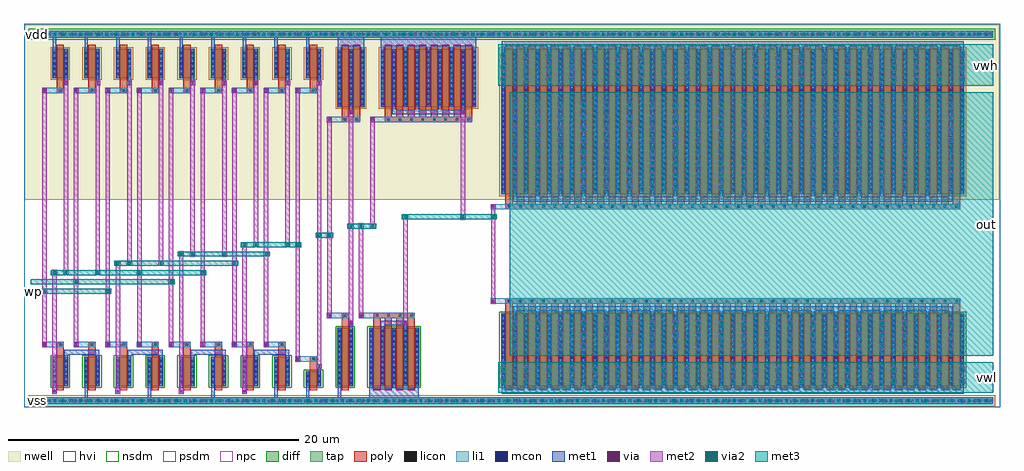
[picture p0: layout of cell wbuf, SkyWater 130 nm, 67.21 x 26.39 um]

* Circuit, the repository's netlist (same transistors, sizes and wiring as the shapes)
.subckt wbuf wp pol out vwh vwl vdd vss
MXN1a s1 wp n1 vss nfet_g5v0d10v5 w=2u l=0.5u
MXN1b s1 pol vss vss nfet_g5v0d10v5 w=2u l=0.5u
MXN2a s2 wp n2 vss nfet_g5v0d10v5 w=2u l=0.5u
MXN2b s2 n1 vss vss nfet_g5v0d10v5 w=2u l=0.5u
MXN3a s3 pol n3 vss nfet_g5v0d10v5 w=2u l=0.5u
MXN3b s3 n1 vss vss nfet_g5v0d10v5 w=2u l=0.5u
MXN4a s4 n2 xr vss nfet_g5v0d10v5 w=2u l=0.5u
MXN4b s4 n3 vss vss nfet_g5v0d10v5 w=2u l=0.5u
MXI0n f0 xr vss vss nfet_g5v0d10v5 w=1u l=0.5u
MXM1 f1 f0 vss vss nfet_g5v0d10v5 w=4u l=0.5u
MXM2 f2 f1 vss vss nfet_g5v0d10v5 w=16u l=0.5u
MXP1a n1 wp vdd vdd pfet_g5v0d10v5 w=2u l=0.5u
MXP1b n1 pol vdd vdd pfet_g5v0d10v5 w=2u l=0.5u
MXP2a n2 wp vdd vdd pfet_g5v0d10v5 w=2u l=0.5u
MXP2b n2 n1 vdd vdd pfet_g5v0d10v5 w=2u l=0.5u
MXP3a n3 pol vdd vdd pfet_g5v0d10v5 w=2u l=0.5u
MXP3b n3 n1 vdd vdd pfet_g5v0d10v5 w=2u l=0.5u
MXP4a xr n2 vdd vdd pfet_g5v0d10v5 w=2u l=0.5u
MXP4b xr n3 vdd vdd pfet_g5v0d10v5 w=2u l=0.5u
MXI0p f0 xr vdd vdd pfet_g5v0d10v5 w=2u l=0.5u
MXP1 f1 f0 vdd vdd pfet_g5v0d10v5 w=8u l=0.5u
MXP2 f2 f1 vdd vdd pfet_g5v0d10v5 w=32u l=0.5u
MXMo out f2 vwl vss nfet_g5v0d10v5 w=200u l=0.5u
MXPo out f2 vwh vdd pfet_g5v0d10v5 w=400u l=0.5u
.ends wbuf

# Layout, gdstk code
import gdstk
lib = gdstk.Library(unit=1e-6, precision=1e-09)
def R(c, l, rs):  # rectangles x0, y0, x1, y1
    for r in rs: c.add(gdstk.rectangle(r[:2], r[2:], *l))
def A(c, l, x, y, w, h, nx, ny, dx, dy):  # array of equal rectangles
    R(c, l, [(x+i*dx, y+j*dy, x+i*dx+w, y+j*dy+h) for i in range(nx) for j in range(ny)])
nwell = (64, 20)
diff = (65, 20)
tap = (65, 44)
poly = (66, 20)
licon = (66, 44)
li1 = (67, 20)
mcon = (67, 44)
met1 = (68, 20)
via = (68, 44)
met2 = (69, 20)
via2 = (69, 44)
met3 = (70, 20)
hvi = (75, 20)
nsdm = (93, 44)
psdm = (94, 20)
npc = (95, 20)

wbuf_p0_xp1a = lib.new_cell('wbuf_p0_XP1a')
R(wbuf_p0_xp1a, diff, [(0,0.72,1.08,2.72)])
R(wbuf_p0_xp1a, poly, [(0.29,0.435,0.79,3.005), (0.29,2.72,0.79,3.58), (0.29,3.4,0.79,3.76)])
A(wbuf_p0_xp1a, licon, 0.06, 0.915, 0.17, 0.17, 1, 5, 0, 0.36)
A(wbuf_p0_xp1a, licon, 0.85, 0.915, 0.17, 0.17, 1, 5, 0, 0.36)
R(wbuf_p0_xp1a, licon, [(0.455,3.495,0.625,3.665)])
R(wbuf_p0_xp1a, li1, [(0.06,0.7,0.23,2.74), (0.85,0.7,1.02,2.74), (0.29,3.4,0.79,3.76)])
A(wbuf_p0_xp1a, mcon, 0.06, 0.915, 0.17, 0.17, 1, 5, 0, 0.36)
A(wbuf_p0_xp1a, mcon, 0.85, 0.915, 0.17, 0.17, 1, 5, 0, 0.36)
R(wbuf_p0_xp1a, met1, [(0.03,0.19,0.26,0.72), (0.03,0.19,0.26,0.53), (0.03,0.72,0.26,2.72), (0.82,0.72,1.05,2.72), (0.82,2.72,1.05,3.23), (0.82,2.89,1.05,3.23)])
R(wbuf_p0_xp1a, psdm, [(-0.125,0.595,1.205,2.845)])
R(wbuf_p0_xp1a, npc, [(0.355,3.395,0.725,3.765)])

wbuf_p1_xp1b = lib.new_cell('wbuf_p1_XP1b')
R(wbuf_p1_xp1b, diff, [(0,0.72,1.08,2.72)])
R(wbuf_p1_xp1b, poly, [(0.29,0.435,0.79,3.005), (0.29,2.72,0.79,3.58), (0.29,3.4,0.79,3.76)])
A(wbuf_p1_xp1b, licon, 0.06, 0.915, 0.17, 0.17, 1, 5, 0, 0.36)
A(wbuf_p1_xp1b, licon, 0.85, 0.915, 0.17, 0.17, 1, 5, 0, 0.36)
R(wbuf_p1_xp1b, licon, [(0.455,3.495,0.625,3.665)])
R(wbuf_p1_xp1b, li1, [(0.06,0.7,0.23,2.74), (0.85,0.7,1.02,2.74), (0.29,3.4,0.79,3.76)])
A(wbuf_p1_xp1b, mcon, 0.06, 0.915, 0.17, 0.17, 1, 5, 0, 0.36)
A(wbuf_p1_xp1b, mcon, 0.85, 0.915, 0.17, 0.17, 1, 5, 0, 0.36)
R(wbuf_p1_xp1b, met1, [(0.03,0.19,0.26,0.72), (0.03,0.19,0.26,0.53), (0.03,0.72,0.26,2.72), (0.82,0.72,1.05,2.72), (0.82,2.72,1.05,3.23), (0.82,2.89,1.05,3.23)])
R(wbuf_p1_xp1b, psdm, [(-0.125,0.595,1.205,2.845)])
R(wbuf_p1_xp1b, npc, [(0.355,3.395,0.725,3.765)])

wbuf_p2_xp2a = lib.new_cell('wbuf_p2_XP2a')
R(wbuf_p2_xp2a, diff, [(0,0.72,1.08,2.72)])
R(wbuf_p2_xp2a, poly, [(0.29,0.435,0.79,3.005), (0.29,2.72,0.79,3.58), (0.29,3.4,0.79,3.76)])
A(wbuf_p2_xp2a, licon, 0.06, 0.915, 0.17, 0.17, 1, 5, 0, 0.36)
A(wbuf_p2_xp2a, licon, 0.85, 0.915, 0.17, 0.17, 1, 5, 0, 0.36)
R(wbuf_p2_xp2a, licon, [(0.455,3.495,0.625,3.665)])
R(wbuf_p2_xp2a, li1, [(0.06,0.7,0.23,2.74), (0.85,0.7,1.02,2.74), (0.29,3.4,0.79,3.76)])
A(wbuf_p2_xp2a, mcon, 0.06, 0.915, 0.17, 0.17, 1, 5, 0, 0.36)
A(wbuf_p2_xp2a, mcon, 0.85, 0.915, 0.17, 0.17, 1, 5, 0, 0.36)
R(wbuf_p2_xp2a, met1, [(0.03,0.19,0.26,0.72), (0.03,0.19,0.26,0.53), (0.03,0.72,0.26,2.72), (0.82,0.72,1.05,2.72), (0.82,2.72,1.05,3.23), (0.82,2.89,1.05,3.23)])
R(wbuf_p2_xp2a, psdm, [(-0.125,0.595,1.205,2.845)])
R(wbuf_p2_xp2a, npc, [(0.355,3.395,0.725,3.765)])

wbuf_p3_xp2b = lib.new_cell('wbuf_p3_XP2b')
R(wbuf_p3_xp2b, diff, [(0,0.72,1.08,2.72)])
R(wbuf_p3_xp2b, poly, [(0.29,0.435,0.79,3.005), (0.29,2.72,0.79,3.58), (0.29,3.4,0.79,3.76)])
A(wbuf_p3_xp2b, licon, 0.06, 0.915, 0.17, 0.17, 1, 5, 0, 0.36)
A(wbuf_p3_xp2b, licon, 0.85, 0.915, 0.17, 0.17, 1, 5, 0, 0.36)
R(wbuf_p3_xp2b, licon, [(0.455,3.495,0.625,3.665)])
R(wbuf_p3_xp2b, li1, [(0.06,0.7,0.23,2.74), (0.85,0.7,1.02,2.74), (0.29,3.4,0.79,3.76)])
A(wbuf_p3_xp2b, mcon, 0.06, 0.915, 0.17, 0.17, 1, 5, 0, 0.36)
A(wbuf_p3_xp2b, mcon, 0.85, 0.915, 0.17, 0.17, 1, 5, 0, 0.36)
R(wbuf_p3_xp2b, met1, [(0.03,0.19,0.26,0.72), (0.03,0.19,0.26,0.53), (0.03,0.72,0.26,2.72), (0.82,0.72,1.05,2.72), (0.82,2.72,1.05,3.23), (0.82,2.89,1.05,3.23)])
R(wbuf_p3_xp2b, psdm, [(-0.125,0.595,1.205,2.845)])
R(wbuf_p3_xp2b, npc, [(0.355,3.395,0.725,3.765)])

wbuf_p4_xp3a = lib.new_cell('wbuf_p4_XP3a')
R(wbuf_p4_xp3a, diff, [(0,0.72,1.08,2.72)])
R(wbuf_p4_xp3a, poly, [(0.29,0.435,0.79,3.005), (0.29,2.72,0.79,3.58), (0.29,3.4,0.79,3.76)])
A(wbuf_p4_xp3a, licon, 0.06, 0.915, 0.17, 0.17, 1, 5, 0, 0.36)
A(wbuf_p4_xp3a, licon, 0.85, 0.915, 0.17, 0.17, 1, 5, 0, 0.36)
R(wbuf_p4_xp3a, licon, [(0.455,3.495,0.625,3.665)])
R(wbuf_p4_xp3a, li1, [(0.06,0.7,0.23,2.74), (0.85,0.7,1.02,2.74), (0.29,3.4,0.79,3.76)])
A(wbuf_p4_xp3a, mcon, 0.06, 0.915, 0.17, 0.17, 1, 5, 0, 0.36)
A(wbuf_p4_xp3a, mcon, 0.85, 0.915, 0.17, 0.17, 1, 5, 0, 0.36)
R(wbuf_p4_xp3a, met1, [(0.03,0.19,0.26,0.72), (0.03,0.19,0.26,0.53), (0.03,0.72,0.26,2.72), (0.82,0.72,1.05,2.72), (0.82,2.72,1.05,3.23), (0.82,2.89,1.05,3.23)])
R(wbuf_p4_xp3a, psdm, [(-0.125,0.595,1.205,2.845)])
R(wbuf_p4_xp3a, npc, [(0.355,3.395,0.725,3.765)])

wbuf_p5_xp3b = lib.new_cell('wbuf_p5_XP3b')
R(wbuf_p5_xp3b, diff, [(0,0.72,1.08,2.72)])
R(wbuf_p5_xp3b, poly, [(0.29,0.435,0.79,3.005), (0.29,2.72,0.79,3.58), (0.29,3.4,0.79,3.76)])
A(wbuf_p5_xp3b, licon, 0.06, 0.915, 0.17, 0.17, 1, 5, 0, 0.36)
A(wbuf_p5_xp3b, licon, 0.85, 0.915, 0.17, 0.17, 1, 5, 0, 0.36)
R(wbuf_p5_xp3b, licon, [(0.455,3.495,0.625,3.665)])
R(wbuf_p5_xp3b, li1, [(0.06,0.7,0.23,2.74), (0.85,0.7,1.02,2.74), (0.29,3.4,0.79,3.76)])
A(wbuf_p5_xp3b, mcon, 0.06, 0.915, 0.17, 0.17, 1, 5, 0, 0.36)
A(wbuf_p5_xp3b, mcon, 0.85, 0.915, 0.17, 0.17, 1, 5, 0, 0.36)
R(wbuf_p5_xp3b, met1, [(0.03,0.19,0.26,0.72), (0.03,0.19,0.26,0.53), (0.03,0.72,0.26,2.72), (0.82,0.72,1.05,2.72), (0.82,2.72,1.05,3.23), (0.82,2.89,1.05,3.23)])
R(wbuf_p5_xp3b, psdm, [(-0.125,0.595,1.205,2.845)])
R(wbuf_p5_xp3b, npc, [(0.355,3.395,0.725,3.765)])

wbuf_p6_xp4a = lib.new_cell('wbuf_p6_XP4a')
R(wbuf_p6_xp4a, diff, [(0,0.72,1.08,2.72)])
R(wbuf_p6_xp4a, poly, [(0.29,0.435,0.79,3.005), (0.29,2.72,0.79,3.58), (0.29,3.4,0.79,3.76)])
A(wbuf_p6_xp4a, licon, 0.06, 0.915, 0.17, 0.17, 1, 5, 0, 0.36)
A(wbuf_p6_xp4a, licon, 0.85, 0.915, 0.17, 0.17, 1, 5, 0, 0.36)
R(wbuf_p6_xp4a, licon, [(0.455,3.495,0.625,3.665)])
R(wbuf_p6_xp4a, li1, [(0.06,0.7,0.23,2.74), (0.85,0.7,1.02,2.74), (0.29,3.4,0.79,3.76)])
A(wbuf_p6_xp4a, mcon, 0.06, 0.915, 0.17, 0.17, 1, 5, 0, 0.36)
A(wbuf_p6_xp4a, mcon, 0.85, 0.915, 0.17, 0.17, 1, 5, 0, 0.36)
R(wbuf_p6_xp4a, met1, [(0.03,0.19,0.26,0.72), (0.03,0.19,0.26,0.53), (0.03,0.72,0.26,2.72), (0.82,0.72,1.05,2.72), (0.82,2.72,1.05,3.23), (0.82,2.89,1.05,3.23)])
R(wbuf_p6_xp4a, psdm, [(-0.125,0.595,1.205,2.845)])
R(wbuf_p6_xp4a, npc, [(0.355,3.395,0.725,3.765)])

wbuf_p7_xp4b = lib.new_cell('wbuf_p7_XP4b')
R(wbuf_p7_xp4b, diff, [(0,0.72,1.08,2.72)])
R(wbuf_p7_xp4b, poly, [(0.29,0.435,0.79,3.005), (0.29,2.72,0.79,3.58), (0.29,3.4,0.79,3.76)])
A(wbuf_p7_xp4b, licon, 0.06, 0.915, 0.17, 0.17, 1, 5, 0, 0.36)
A(wbuf_p7_xp4b, licon, 0.85, 0.915, 0.17, 0.17, 1, 5, 0, 0.36)
R(wbuf_p7_xp4b, licon, [(0.455,3.495,0.625,3.665)])
R(wbuf_p7_xp4b, li1, [(0.06,0.7,0.23,2.74), (0.85,0.7,1.02,2.74), (0.29,3.4,0.79,3.76)])
A(wbuf_p7_xp4b, mcon, 0.06, 0.915, 0.17, 0.17, 1, 5, 0, 0.36)
A(wbuf_p7_xp4b, mcon, 0.85, 0.915, 0.17, 0.17, 1, 5, 0, 0.36)
R(wbuf_p7_xp4b, met1, [(0.03,0.19,0.26,0.72), (0.03,0.19,0.26,0.53), (0.03,0.72,0.26,2.72), (0.82,0.72,1.05,2.72), (0.82,2.72,1.05,3.23), (0.82,2.89,1.05,3.23)])
R(wbuf_p7_xp4b, psdm, [(-0.125,0.595,1.205,2.845)])
R(wbuf_p7_xp4b, npc, [(0.355,3.395,0.725,3.765)])

wbuf_p8_xi0p = lib.new_cell('wbuf_p8_XI0p')
R(wbuf_p8_xi0p, diff, [(0,0.72,1.08,2.72)])
R(wbuf_p8_xi0p, poly, [(0.29,0.435,0.79,3.005), (0.29,2.72,0.79,3.58), (0.29,3.4,0.79,3.76)])
A(wbuf_p8_xi0p, licon, 0.06, 0.915, 0.17, 0.17, 1, 5, 0, 0.36)
A(wbuf_p8_xi0p, licon, 0.85, 0.915, 0.17, 0.17, 1, 5, 0, 0.36)
R(wbuf_p8_xi0p, licon, [(0.455,3.495,0.625,3.665)])
R(wbuf_p8_xi0p, li1, [(0.06,0.7,0.23,2.74), (0.85,0.7,1.02,2.74), (0.29,3.4,0.79,3.76)])
A(wbuf_p8_xi0p, mcon, 0.06, 0.915, 0.17, 0.17, 1, 5, 0, 0.36)
A(wbuf_p8_xi0p, mcon, 0.85, 0.915, 0.17, 0.17, 1, 5, 0, 0.36)
R(wbuf_p8_xi0p, met1, [(0.03,0.19,0.26,0.72), (0.03,0.19,0.26,0.53), (0.03,0.72,0.26,2.72), (0.82,0.72,1.05,2.72), (0.82,2.72,1.05,3.23), (0.82,2.89,1.05,3.23)])
R(wbuf_p8_xi0p, psdm, [(-0.125,0.595,1.205,2.845)])
R(wbuf_p8_xi0p, npc, [(0.355,3.395,0.725,3.765)])

wbuf_p9_xp1 = lib.new_cell('wbuf_p9_XP1')
R(wbuf_p9_xp1, diff, [(0,0.72,1.87,4.72)])
R(wbuf_p9_xp1, poly, [(0.29,0.435,0.79,5.005), (1.08,0.435,1.58,5.005), (0.29,4.72,0.79,5.58), (1.08,4.72,1.58,5.58), (0.29,5.4,1.58,5.76)])
A(wbuf_p9_xp1, licon, 0.06, 0.835, 0.17, 0.17, 3, 11, 0.79, 0.36)
R(wbuf_p9_xp1, licon, [(0.455,5.495,0.625,5.665), (1.245,5.495,1.415,5.665)])
A(wbuf_p9_xp1, li1, 0.06, 0.7, 0.17, 4.04, 3, 1, 0.79, 0)
R(wbuf_p9_xp1, li1, [(0.29,5.4,1.58,5.76)])
A(wbuf_p9_xp1, mcon, 0.06, 0.835, 0.17, 0.17, 3, 11, 0.79, 0.36)
A(wbuf_p9_xp1, met1, 0.03, 0.72, 0.23, 4, 3, 1, 0.79, 0)
R(wbuf_p9_xp1, met1, [(0.03,0.19,0.26,0.72), (0.03,0.19,1.84,0.53), (1.61,0.19,1.84,0.72), (0.82,4.72,1.05,5.23), (0.82,4.89,1.05,5.23)])
R(wbuf_p9_xp1, psdm, [(-0.125,0.595,1.995,4.845)])
R(wbuf_p9_xp1, npc, [(0.355,5.395,1.515,5.765)])

wbuf_p10_xp2 = lib.new_cell('wbuf_p10_XP2')
R(wbuf_p10_xp2, diff, [(0,0.72,6.61,4.72)])
A(wbuf_p10_xp2, poly, 0.29, 0.435, 0.5, 4.57, 8, 1, 0.79, 0)
A(wbuf_p10_xp2, poly, 0.29, 4.72, 0.5, 0.86, 8, 1, 0.79, 0)
R(wbuf_p10_xp2, poly, [(0.29,5.4,6.32,5.76)])
A(wbuf_p10_xp2, licon, 0.06, 0.835, 0.17, 0.17, 9, 11, 0.79, 0.36)
A(wbuf_p10_xp2, licon, 0.455, 5.495, 0.17, 0.17, 8, 1, 0.79, 0)
A(wbuf_p10_xp2, li1, 0.06, 0.7, 0.17, 4.04, 9, 1, 0.79, 0)
R(wbuf_p10_xp2, li1, [(0.29,5.4,6.32,5.76)])
A(wbuf_p10_xp2, mcon, 0.06, 0.835, 0.17, 0.17, 9, 11, 0.79, 0.36)
A(wbuf_p10_xp2, met1, 0.03, 0.19, 0.23, 0.53, 5, 1, 1.58, 0)
A(wbuf_p10_xp2, met1, 0.03, 0.72, 0.23, 4, 9, 1, 0.79, 0)
A(wbuf_p10_xp2, met1, 0.82, 4.72, 0.23, 0.51, 4, 1, 1.58, 0)
R(wbuf_p10_xp2, met1, [(0.03,0.19,6.58,0.53), (0.82,4.89,5.79,5.23)])
R(wbuf_p10_xp2, psdm, [(-0.125,0.595,6.735,4.845)])
R(wbuf_p10_xp2, npc, [(0.355,5.395,6.255,5.765)])

wbuf_p0_xpo = lib.new_cell('wbuf_p0_XPo')
R(wbuf_p0_xpo, diff, [(0,0.72,31.89,10.72)])
A(wbuf_p0_xpo, poly, 0.29, 0.435, 0.5, 10.57, 40, 1, 0.79, 0)
A(wbuf_p0_xpo, poly, 0.29, 10.72, 0.5, 0.86, 40, 1, 0.79, 0)
R(wbuf_p0_xpo, poly, [(0.29,11.4,31.6,11.76)])
A(wbuf_p0_xpo, licon, 0.06, 0.955, 0.17, 0.17, 41, 27, 0.79, 0.36)
A(wbuf_p0_xpo, licon, 0.455, 11.495, 0.17, 0.17, 40, 1, 0.79, 0)
A(wbuf_p0_xpo, li1, 0.06, 0.7, 0.17, 10.04, 41, 1, 0.79, 0)
R(wbuf_p0_xpo, li1, [(0.29,11.4,31.6,11.76)])
A(wbuf_p0_xpo, mcon, 0.06, 0.955, 0.17, 0.17, 41, 27, 0.79, 0.36)
A(wbuf_p0_xpo, met1, 0.03, 0.19, 0.23, 0.53, 21, 1, 1.58, 0)
A(wbuf_p0_xpo, met1, 0.03, 0.72, 0.23, 10, 41, 1, 0.79, 0)
A(wbuf_p0_xpo, met1, 0.82, 10.72, 0.23, 0.51, 20, 1, 1.58, 0)
R(wbuf_p0_xpo, met1, [(0.03,0.19,31.86,0.53), (0.82,10.89,31.07,11.23)])
R(wbuf_p0_xpo, psdm, [(-0.125,0.595,32.015,10.845)])
R(wbuf_p0_xpo, npc, [(0.355,11.395,31.535,11.765)])

wbuf = lib.new_cell('wbuf')
R(wbuf, nwell, [(0.06,14.265,67.15,26.335)])
A(wbuf, diff, 1.96, 1.455, 1.08, 2, 8, 1, 2.18, 0)
R(wbuf, diff, [(19.4,1.455,20.48,2.455), (21.58,1.455,22.66,5.455), (23.76,1.455,27.21,5.455), (32.86,1.455,64.75,6.455)])
R(wbuf, tap, [(0.46,0.185,66.75,0.685), (0.46,25.435,66.75,25.935)])
A(wbuf, poly, 2.25, 1.17, 0.5, 2.57, 8, 1, 2.18, 0)
A(wbuf, poly, 24.05, 1.17, 0.5, 4.57, 4, 1, 0.79, 0)
A(wbuf, poly, 33.15, 1.17, 0.5, 5.57, 40, 1, 0.79, 0)
A(wbuf, poly, 2.25, 3.455, 0.5, 0.86, 8, 1, 2.18, 0)
A(wbuf, poly, 2.25, 4.135, 0.5, 0.36, 8, 1, 2.18, 0)
A(wbuf, poly, 24.05, 5.455, 0.5, 0.86, 4, 1, 0.79, 0)
A(wbuf, poly, 33.15, 6.455, 0.5, 0.86, 40, 1, 0.79, 0)
R(wbuf, poly, [(19.69,1.17,20.19,2.74), (21.87,1.17,22.37,5.74), (19.69,2.455,20.19,3.315), (19.69,3.135,20.19,3.495), (21.87,5.455,22.37,6.315), (21.87,6.135,22.37,6.495), (24.05,6.135,26.92,6.495), (33.15,7.135,64.46,7.495)])
A(wbuf, licon, 0.58, 0.35, 0.17, 0.17, 184, 2, 0.36, 25.25)
A(wbuf, licon, 32.92, 1.53, 0.17, 0.17, 41, 14, 0.79, 0.36)
A(wbuf, licon, 21.64, 1.57, 0.17, 0.17, 1, 11, 0, 0.36)
A(wbuf, licon, 22.43, 1.57, 0.17, 0.17, 1, 11, 0, 0.36)
A(wbuf, licon, 23.82, 1.57, 0.17, 0.17, 5, 11, 0.79, 0.36)
A(wbuf, licon, 2.02, 1.65, 0.17, 0.17, 1, 5, 0, 0.36)
A(wbuf, licon, 2.81, 1.65, 0.17, 0.17, 1, 5, 0, 0.36)
A(wbuf, licon, 4.2, 1.65, 0.17, 0.17, 1, 5, 0, 0.36)
A(wbuf, licon, 4.99, 1.65, 0.17, 0.17, 1, 5, 0, 0.36)
A(wbuf, licon, 6.38, 1.65, 0.17, 0.17, 1, 5, 0, 0.36)
A(wbuf, licon, 7.17, 1.65, 0.17, 0.17, 1, 5, 0, 0.36)
A(wbuf, licon, 8.56, 1.65, 0.17, 0.17, 1, 5, 0, 0.36)
A(wbuf, licon, 9.35, 1.65, 0.17, 0.17, 1, 5, 0, 0.36)
A(wbuf, licon, 10.74, 1.65, 0.17, 0.17, 1, 5, 0, 0.36)
A(wbuf, licon, 11.53, 1.65, 0.17, 0.17, 1, 5, 0, 0.36)
A(wbuf, licon, 12.92, 1.65, 0.17, 0.17, 1, 5, 0, 0.36)
A(wbuf, licon, 13.71, 1.65, 0.17, 0.17, 1, 5, 0, 0.36)
A(wbuf, licon, 15.1, 1.65, 0.17, 0.17, 1, 5, 0, 0.36)
A(wbuf, licon, 15.89, 1.65, 0.17, 0.17, 1, 5, 0, 0.36)
A(wbuf, licon, 17.28, 1.65, 0.17, 0.17, 1, 5, 0, 0.36)
A(wbuf, licon, 18.07, 1.65, 0.17, 0.17, 1, 5, 0, 0.36)
A(wbuf, licon, 2.415, 4.23, 0.17, 0.17, 8, 1, 2.18, 0)
A(wbuf, licon, 24.215, 6.23, 0.17, 0.17, 4, 1, 0.79, 0)
A(wbuf, licon, 33.315, 7.23, 0.17, 0.17, 40, 1, 0.79, 0)
R(wbuf, licon, [(19.46,1.69,19.63,1.86), (20.25,1.69,20.42,1.86), (19.46,2.05,19.63,2.22), (20.25,2.05,20.42,2.22), (19.855,3.23,20.025,3.4), (22.035,6.23,22.205,6.4)])
A(wbuf, li1, 23.82, 1.435, 0.17, 4.04, 5, 1, 0.79, 0)
A(wbuf, li1, 32.92, 1.435, 0.17, 5.04, 41, 1, 0.79, 0)
A(wbuf, li1, 1.24, 4.135, 1.26, 0.36, 8, 1, 2.18, 0)
A(wbuf, li1, 2.25, 4.135, 0.5, 0.36, 8, 1, 2.18, 0)
A(wbuf, li1, 1.24, 21.625, 1.26, 0.36, 9, 1, 2.18, 0)
R(wbuf, li1, [(0.46,0.185,66.75,0.685), (2.02,1.435,2.19,3.475), (2.81,1.435,2.98,3.475), (4.2,1.435,4.37,3.475), (4.99,1.435,5.16,3.475), (6.38,1.435,6.55,3.475), (7.17,1.435,7.34,3.475), (8.56,1.435,8.73,3.475), (9.35,1.435,9.52,3.475), (10.74,1.435,10.91,3.475), (11.53,1.435,11.7,3.475), (12.92,1.435,13.09,3.475), (13.71,1.435,13.88,3.475), (15.1,1.435,15.27,3.475), (15.89,1.435,16.06,3.475), (17.28,1.435,17.45,3.475), (18.07,1.435,18.24,3.475), (19.46,1.435,19.63,2.475), (20.25,1.435,20.42,2.475), (21.64,1.435,21.81,5.475), (22.43,1.435,22.6,5.475), (18.68,3.135,19.94,3.495), (19.69,3.135,20.19,3.495), (20.86,6.135,22.12,6.495), (21.87,6.135,22.37,6.495), (23.04,6.135,24.3,6.495), (24.05,6.135,26.92,6.495), (32.14,7.135,33.4,7.495), (33.15,7.135,64.46,7.495), (32.14,13.625,33.4,13.985), (20.86,19.625,22.12,19.985), (23.83,19.625,25.09,19.985), (0.46,25.435,66.75,25.935)])
A(wbuf, mcon, 0.58, 0.35, 0.17, 0.17, 184, 2, 0.36, 25.25)
A(wbuf, mcon, 32.92, 1.53, 0.17, 0.17, 41, 14, 0.79, 0.36)
A(wbuf, mcon, 21.64, 1.57, 0.17, 0.17, 1, 11, 0, 0.36)
A(wbuf, mcon, 22.43, 1.57, 0.17, 0.17, 1, 11, 0, 0.36)
A(wbuf, mcon, 23.82, 1.57, 0.17, 0.17, 5, 11, 0.79, 0.36)
A(wbuf, mcon, 2.02, 1.65, 0.17, 0.17, 1, 5, 0, 0.36)
A(wbuf, mcon, 2.81, 1.65, 0.17, 0.17, 1, 5, 0, 0.36)
A(wbuf, mcon, 4.2, 1.65, 0.17, 0.17, 1, 5, 0, 0.36)
A(wbuf, mcon, 4.99, 1.65, 0.17, 0.17, 1, 5, 0, 0.36)
A(wbuf, mcon, 6.38, 1.65, 0.17, 0.17, 1, 5, 0, 0.36)
A(wbuf, mcon, 7.17, 1.65, 0.17, 0.17, 1, 5, 0, 0.36)
A(wbuf, mcon, 8.56, 1.65, 0.17, 0.17, 1, 5, 0, 0.36)
A(wbuf, mcon, 9.35, 1.65, 0.17, 0.17, 1, 5, 0, 0.36)
A(wbuf, mcon, 10.74, 1.65, 0.17, 0.17, 1, 5, 0, 0.36)
A(wbuf, mcon, 11.53, 1.65, 0.17, 0.17, 1, 5, 0, 0.36)
A(wbuf, mcon, 12.92, 1.65, 0.17, 0.17, 1, 5, 0, 0.36)
A(wbuf, mcon, 13.71, 1.65, 0.17, 0.17, 1, 5, 0, 0.36)
A(wbuf, mcon, 15.1, 1.65, 0.17, 0.17, 1, 5, 0, 0.36)
A(wbuf, mcon, 15.89, 1.65, 0.17, 0.17, 1, 5, 0, 0.36)
A(wbuf, mcon, 17.28, 1.65, 0.17, 0.17, 1, 5, 0, 0.36)
A(wbuf, mcon, 18.07, 1.65, 0.17, 0.17, 1, 5, 0, 0.36)
A(wbuf, mcon, 1.325, 4.23, 0.17, 0.17, 8, 1, 2.18, 0)
A(wbuf, mcon, 1.325, 21.72, 0.17, 0.17, 9, 1, 2.18, 0)
R(wbuf, mcon, [(19.46,1.69,19.63,1.86), (20.25,1.69,20.42,1.86), (19.46,2.05,19.63,2.22), (20.25,2.05,20.42,2.22), (18.765,3.23,18.935,3.4), (20.945,6.23,21.115,6.4), (23.125,6.23,23.295,6.4), (32.225,7.23,32.395,7.4), (32.225,13.72,32.395,13.89), (20.945,19.72,21.115,19.89), (23.915,19.72,24.085,19.89)])
A(wbuf, met1, 4.17, 0.435, 0.23, 0.66, 4, 1, 4.36, 0)
A(wbuf, met1, 1.99, 0.925, 0.23, 0.53, 11, 1, 2.18, 0)
A(wbuf, met1, 1.99, 0.925, 0.23, 0.34, 10, 1, 2.18, 0)
A(wbuf, met1, 32.89, 0.925, 0.23, 0.53, 21, 1, 1.58, 0)
A(wbuf, met1, 1.94, 0.93, 0.33, 0.33, 4, 1, 4.36, 0)
A(wbuf, met1, 23.79, 1.455, 0.23, 4, 5, 1, 0.79, 0)
A(wbuf, met1, 32.89, 1.455, 0.23, 5, 41, 1, 0.79, 0)
A(wbuf, met1, 32.84, 1.62, 0.33, 0.33, 21, 2, 1.58, 0.8)
A(wbuf, met1, 2.78, 3.455, 0.23, 0.51, 8, 1, 2.18, 0)
A(wbuf, met1, 2.78, 3.625, 2.41, 0.34, 4, 1, 4.36, 0)
A(wbuf, met1, 2.78, 3.625, 0.23, 0.34, 8, 1, 2.18, 0)
A(wbuf, met1, 33.63, 4.02, 0.33, 0.33, 20, 3, 1.58, 0.8)
A(wbuf, met1, 1.24, 4.145, 0.34, 0.34, 8, 1, 2.18, 0)
A(wbuf, met1, 33.68, 6.455, 0.23, 0.51, 20, 1, 1.58, 0)
A(wbuf, met1, 33.63, 15.02, 0.33, 0.33, 20, 8, 1.58, 0.8)
A(wbuf, met1, 1.24, 21.635, 0.34, 0.34, 9, 1, 2.18, 0)
A(wbuf, met1, 2.73, 22.16, 0.33, 0.33, 9, 1, 2.18, 0)
A(wbuf, met1, 32.84, 22.42, 0.33, 0.33, 21, 3, 1.58, 0.8)
A(wbuf, met1, 1.99, 25.025, 0.23, 0.66, 9, 1, 2.18, 0)
R(wbuf, met1, [(0.46,0.185,66.75,0.685), (19.43,0.435,19.66,1.095), (21.61,0.435,21.84,1.095), (23.79,0.435,27.18,1.095), (23.79,0.925,27.18,1.265), (25.37,0.925,25.6,1.455), (26.95,0.925,27.18,1.455), (32.89,0.925,64.72,1.265), (1.99,1.455,2.22,3.455), (2.78,1.455,3.01,3.455), (4.17,1.455,4.4,3.455), (4.96,1.455,5.19,3.455), (6.35,1.455,6.58,3.455), (7.14,1.455,7.37,3.455), (8.53,1.455,8.76,3.455), (9.32,1.455,9.55,3.455), (10.71,1.455,10.94,3.455), (11.5,1.455,11.73,3.455), (12.89,1.455,13.12,3.455), (13.68,1.455,13.91,3.455), (15.07,1.455,15.3,3.455), (15.86,1.455,16.09,3.455), (17.25,1.455,17.48,3.455), (18.04,1.455,18.27,3.455), (19.43,1.455,19.66,2.455), (20.22,1.455,20.45,2.455), (21.61,1.455,21.84,5.455), (22.4,1.455,22.63,5.455), (20.22,2.455,20.45,2.965), (20.22,2.625,20.45,2.965), (20.17,2.63,20.5,2.96), (18.68,3.145,19.02,3.485), (22.4,5.455,22.63,5.965), (24.58,5.455,24.81,5.965), (26.16,5.455,26.39,5.965), (22.4,5.625,22.63,5.965), (24.58,5.625,26.39,5.965), (22.35,5.63,22.68,5.96), (26.11,5.63,26.44,5.96), (20.86,6.145,21.2,6.485), (23.04,6.145,23.38,6.485), (33.68,6.625,63.93,6.965), (32.14,7.145,32.48,7.485), (32.14,13.635,32.48,13.975), (20.86,19.635,21.2,19.975), (23.83,19.635,24.17,19.975), (22.35,20.16,22.68,20.49), (30.06,20.16,30.39,20.49), (21.61,25.025,23.42,25.685), (24.58,25.025,31.13,25.685), (0.46,25.435,66.75,25.935)])
A(wbuf, via, 0.83, 0.36, 0.15, 0.15, 110, 2, 0.6, 25.25)
A(wbuf, via, 2.03, 1.02, 0.15, 0.15, 4, 1, 4.36, 0)
A(wbuf, via, 32.93, 1.71, 0.15, 0.15, 21, 2, 1.58, 0.8)
A(wbuf, via, 33.72, 4.11, 0.15, 0.15, 20, 3, 1.58, 0.8)
A(wbuf, via, 1.335, 4.24, 0.15, 0.15, 8, 1, 2.18, 0)
A(wbuf, via, 33.72, 15.11, 0.15, 0.15, 20, 8, 1.58, 0.8)
A(wbuf, via, 1.335, 21.73, 0.15, 0.15, 9, 1, 2.18, 0)
A(wbuf, via, 2.82, 22.25, 0.15, 0.15, 9, 1, 2.18, 0)
A(wbuf, via, 32.93, 22.51, 0.15, 0.15, 21, 3, 1.58, 0.8)
R(wbuf, via, [(20.26,2.72,20.41,2.87), (18.775,3.24,18.925,3.39), (22.44,5.72,22.59,5.87), (26.2,5.72,26.35,5.87), (20.955,6.24,21.105,6.39), (23.135,6.24,23.285,6.39), (32.235,7.24,32.385,7.39), (32.235,13.73,32.385,13.88), (20.955,19.73,21.105,19.88), (23.925,19.73,24.075,19.88), (22.44,20.25,22.59,20.4), (30.15,20.25,30.3,20.4)])
A(wbuf, met2, 1.94, 0.93, 0.33, 0.33, 4, 1, 4.36, 0)
A(wbuf, met2, 32.82, 1.6, 0.37, 0.37, 21, 2, 1.58, 0.8)
A(wbuf, met2, 33.61, 4, 0.37, 0.37, 20, 3, 1.58, 0.8)
A(wbuf, met2, 1.245, 4.15, 0.33, 0.33, 8, 1, 2.18, 0)
A(wbuf, met2, 33.61, 15, 0.37, 0.37, 20, 8, 1.58, 0.8)
A(wbuf, met2, 1.245, 21.64, 0.33, 0.33, 9, 1, 2.18, 0)
A(wbuf, met2, 2.73, 22.16, 0.33, 0.33, 9, 1, 2.18, 0)
A(wbuf, met2, 32.82, 22.4, 0.37, 0.37, 21, 3, 1.58, 0.8)
R(wbuf, met2, [(0.46,0.185,66.75,0.685), (1.955,1.095,2.255,9.265), (6.315,1.095,6.615,9.905), (10.675,1.095,10.975,10.545), (15.035,1.095,15.335,11.185), (20.17,2.63,20.5,2.96), (20.185,2.795,20.485,11.825), (18.685,3.15,19.015,3.48), (18.7,3.315,19,11.185), (1.26,4.315,1.56,7.985), (3.44,4.315,3.74,8.625), (5.62,4.315,5.92,7.985), (7.8,4.315,8.1,9.265), (9.98,4.315,10.28,8.625), (12.16,4.315,12.46,9.265), (14.34,4.315,14.64,9.905), (16.52,4.315,16.82,10.545), (22.35,5.63,22.68,5.96), (26.11,5.63,26.44,5.96), (22.365,5.795,22.665,12.465), (26.125,5.795,26.425,13.105), (20.865,6.15,21.195,6.48), (23.045,6.15,23.375,6.48), (20.88,6.315,21.18,11.825), (23.06,6.315,23.36,12.465), (32.145,7.15,32.475,7.48), (32.16,7.315,32.46,13.105), (1.225,7.8,1.595,8.17), (1.225,7.8,1.595,8.17), (5.585,7.8,5.955,8.17), (5.585,7.8,5.955,8.17), (1.26,7.985,1.56,21.805), (5.62,7.985,5.92,21.805), (3.405,8.44,3.775,8.81), (3.405,8.44,3.775,8.81), (9.945,8.44,10.315,8.81), (9.945,8.44,10.315,8.81), (3.44,8.625,3.74,21.805), (9.98,8.625,10.28,21.805), (1.92,9.08,2.29,9.45), (2.71,9.08,3.08,9.45), (4.89,9.08,5.26,9.45), (7.765,9.08,8.135,9.45), (7.765,9.08,8.135,9.45), (12.125,9.08,12.495,9.45), (12.125,9.08,12.495,9.45), (2.745,9.265,3.045,22.325), (4.925,9.265,5.225,22.325), (7.8,9.265,8.1,21.805), (12.16,9.265,12.46,21.805), (6.28,9.72,6.65,10.09), (7.07,9.72,7.44,10.09), (9.25,9.72,9.62,10.09), (14.305,9.72,14.675,10.09), (14.305,9.72,14.675,10.09), (7.105,9.905,7.405,22.325), (9.285,9.905,9.585,22.325), (14.34,9.905,14.64,21.805), (10.64,10.36,11.01,10.73), (11.43,10.36,11.8,10.73), (13.61,10.36,13.98,10.73), (16.485,10.36,16.855,10.73), (16.485,10.36,16.855,10.73), (11.465,10.545,11.765,22.325), (13.645,10.545,13.945,22.325), (16.52,10.545,16.82,21.805), (15,11,15.37,11.37), (15.79,11,16.16,11.37), (17.97,11,18.34,11.37), (18.665,11,19.035,11.37), (18.665,11,19.035,11.37), (15.825,11.185,16.125,22.325), (18.005,11.185,18.305,22.325), (18.7,11.185,19,21.805), (20.15,11.64,20.52,12.01), (20.15,11.64,20.52,12.01), (20.845,11.64,21.215,12.01), (20.845,11.64,21.215,12.01), (20.185,11.825,20.485,22.325), (20.88,11.825,21.18,19.805), (22.33,12.28,22.7,12.65), (22.33,12.28,22.7,12.65), (23.025,12.28,23.395,12.65), (23.815,12.28,24.185,12.65), (22.365,12.465,22.665,20.325), (23.85,12.465,24.15,19.805), (26.09,12.92,26.46,13.29), (30.04,12.92,30.41,13.29), (32.125,12.92,32.495,13.29), (32.125,12.92,32.495,13.29), (30.075,13.105,30.375,20.325), (32.16,13.105,32.46,13.805), (32.145,13.64,32.475,13.97), (20.865,19.64,21.195,19.97), (23.835,19.64,24.165,19.97), (22.35,20.16,22.68,20.49), (30.06,20.16,30.39,20.49), (0.46,25.435,66.75,25.935)])
A(wbuf, via2, 0.805, 0.335, 0.2, 0.2, 110, 2, 0.6, 25.25)
A(wbuf, via2, 32.905, 1.685, 0.2, 0.2, 21, 2, 1.58, 0.8)
A(wbuf, via2, 33.695, 4.085, 0.2, 0.2, 20, 3, 1.58, 0.8)
A(wbuf, via2, 33.695, 15.085, 0.2, 0.2, 20, 8, 1.58, 0.8)
A(wbuf, via2, 32.905, 22.485, 0.2, 0.2, 21, 3, 1.58, 0.8)
R(wbuf, via2, [(1.31,7.885,1.51,8.085), (1.31,7.885,1.51,8.085), (5.67,7.885,5.87,8.085), (5.67,7.885,5.87,8.085), (3.49,8.525,3.69,8.725), (3.49,8.525,3.69,8.725), (10.03,8.525,10.23,8.725), (10.03,8.525,10.23,8.725), (2.005,9.165,2.205,9.365), (2.795,9.165,2.995,9.365), (4.975,9.165,5.175,9.365), (7.85,9.165,8.05,9.365), (7.85,9.165,8.05,9.365), (12.21,9.165,12.41,9.365), (12.21,9.165,12.41,9.365), (6.365,9.805,6.565,10.005), (7.155,9.805,7.355,10.005), (9.335,9.805,9.535,10.005), (14.39,9.805,14.59,10.005), (14.39,9.805,14.59,10.005), (10.725,10.445,10.925,10.645), (11.515,10.445,11.715,10.645), (13.695,10.445,13.895,10.645), (16.57,10.445,16.77,10.645), (16.57,10.445,16.77,10.645), (15.085,11.085,15.285,11.285), (15.875,11.085,16.075,11.285), (18.055,11.085,18.255,11.285), (18.75,11.085,18.95,11.285), (18.75,11.085,18.95,11.285), (20.235,11.725,20.435,11.925), (20.235,11.725,20.435,11.925), (20.93,11.725,21.13,11.925), (20.93,11.725,21.13,11.925), (22.415,12.365,22.615,12.565), (22.415,12.365,22.615,12.565), (23.11,12.365,23.31,12.565), (23.9,12.365,24.1,12.565), (26.175,13.005,26.375,13.205), (30.125,13.005,30.325,13.205), (32.21,13.005,32.41,13.205), (32.21,13.005,32.41,13.205)])
R(wbuf, met3, [(0.46,0.185,66.75,0.685), (32.66,0.985,66.75,3.085), (33.46,3.535,66.75,21.685), (0.46,7.815,6.02,8.155), (0.46,8.455,10.38,8.795), (1.855,9.095,12.56,9.435), (6.215,9.735,14.74,10.075), (10.575,10.375,16.92,10.715), (14.935,11.015,19.1,11.355), (20.085,11.655,21.28,11.995), (22.265,12.295,24.25,12.635), (26.025,12.935,32.56,13.275), (32.66,22.135,66.75,24.985), (0.46,25.435,66.75,25.935)])
R(wbuf, hvi, [(0,0,67.21,26.395)])
A(wbuf, nsdm, 1.835, 1.33, 1.33, 2.25, 8, 1, 2.18, 0)
R(wbuf, nsdm, [(19.275,1.33,20.605,2.58), (21.455,1.33,22.785,5.58), (23.635,1.33,27.335,5.58), (32.735,1.33,64.875,6.58), (0.335,25.31,66.875,26.06)])
R(wbuf, psdm, [(0.335,0.06,66.875,0.81)])
A(wbuf, npc, 2.315, 4.13, 0.37, 0.37, 8, 1, 2.18, 0)
R(wbuf, npc, [(19.755,3.13,20.125,3.5), (21.935,6.13,22.305,6.5), (24.115,6.13,26.855,6.5), (33.215,7.13,64.395,7.5)])
wbuf.add(gdstk.Reference(wbuf_p0_xp1a, (1.96,25.385), x_reflection=True))
wbuf.add(gdstk.Reference(wbuf_p1_xp1b, (4.14,25.385), x_reflection=True))
wbuf.add(gdstk.Reference(wbuf_p2_xp2a, (6.32,25.385), x_reflection=True))
wbuf.add(gdstk.Reference(wbuf_p3_xp2b, (8.5,25.385), x_reflection=True))
wbuf.add(gdstk.Reference(wbuf_p4_xp3a, (10.68,25.385), x_reflection=True))
wbuf.add(gdstk.Reference(wbuf_p5_xp3b, (12.86,25.385), x_reflection=True))
wbuf.add(gdstk.Reference(wbuf_p6_xp4a, (15.04,25.385), x_reflection=True))
wbuf.add(gdstk.Reference(wbuf_p7_xp4b, (17.22,25.385), x_reflection=True))
wbuf.add(gdstk.Reference(wbuf_p8_xi0p, (19.4,25.385), x_reflection=True))
wbuf.add(gdstk.Reference(wbuf_p9_xp1, (21.58,25.385), x_reflection=True))
wbuf.add(gdstk.Reference(wbuf_p10_xp2, (24.55,25.385), x_reflection=True))
wbuf.add(gdstk.Reference(wbuf_p0_xpo, (32.86,25.385), x_reflection=True))
wbuf.add(gdstk.Label('wp', (0.66,7.985), layer=70, texttype=5))
wbuf.add(gdstk.Label('pol', (0.66,8.625), layer=70, texttype=5))
wbuf.add(gdstk.Label('vwl', (66.25,2.035), layer=70, texttype=5))
wbuf.add(gdstk.Label('out', (66.25,12.61), layer=70, texttype=5))
wbuf.add(gdstk.Label('vwh', (66.25,23.56), layer=70, texttype=5))
wbuf.add(gdstk.Label('vss', (0.96,0.435), layer=70, texttype=5))
wbuf.add(gdstk.Label('vdd', (0.96,25.685), layer=70, texttype=5))

lib.write_gds('wbuf.gds')
